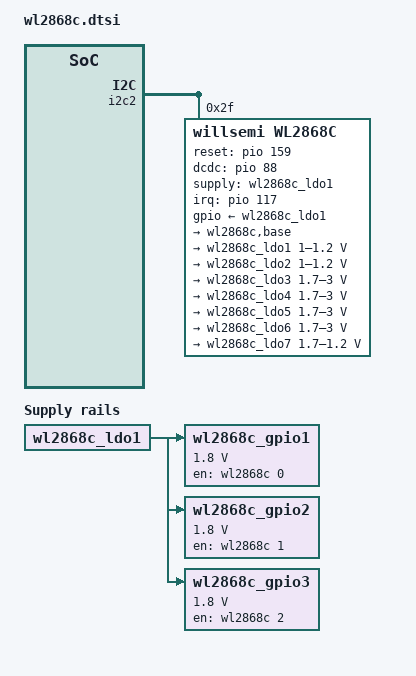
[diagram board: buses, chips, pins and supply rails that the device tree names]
// SPDX-License-Identifier: GPL-2.0
//
// Copyright (c) 2021 MediaTek Inc.

&odm {
	wl2868c_eint:wl2868c_eint {
	};

	wl2868c_gpio1: wl2868c-gpio1 {
		compatible = "regulator-fixed";
		regulator-name = "wl2868c-gpio1";
		regulator-min-microvolt = <1800000>;
		regulator-max-microvolt = <1800000>;
		vin-supply = <&wl2868c_ldo1>;
		enable-active-high;
		gpio = <&wl2868c 0 0x0>;
	};

	wl2868c_gpio2: wl2868c-gpio2 {
		compatible = "regulator-fixed";
		regulator-name = "wl2868c-gpio2";
		regulator-min-microvolt = <1800000>;
		regulator-max-microvolt = <1800000>;
		vin-supply = <&wl2868c_ldo1>;
		enable-active-high;
		gpio = <&wl2868c 1 0x0>;
	};

	wl2868c_gpio3: wl2868c-gpio3 {
		compatible = "regulator-fixed";
		regulator-name = "wl2868c-gpio3";
		regulator-min-microvolt = <1800000>;
		regulator-max-microvolt = <1800000>;
		vin-supply = <&wl2868c_ldo1>;
		enable-active-high;
		gpio = <&wl2868c 2 0x0>;
	};
};

&i2c2 {
	wl2868c: wl2868c@2F {
		status = "ok";
		compatible = "willsemi,wl2868c";
		reg = <0x2F>;
		wakeup-source;
		/* Temporarily choose unused gpios */
		interrupts-extended = <&pio 117 0x0>;
		reset-gpio = <&pio 159 0x0>;
		dcdc-gpio   = <&pio 88 0x0>;
		gpio-supply = <&wl2868c_ldo1>;
		gpio-controller;
		#gpio-cells = <2>;
		regulator_nb = "wl2868c-ldo1", "wl2868c-ldo2",
				"wl2868c-ldo3", "wl2868c-ldo4",
				"wl2868c-ldo5", "wl2868c-ldo6",
				"wl2868c-ldo7", "wl2868c-ldo8";
		regulators {
			BASE {
				regulator-name = "wl2868c,base";
				oc_shutdown_all = <0>;
				pgb_shutdown_all = <0>;
			};
			wl2868c_ldo1: LDO1 {
				regulator-name = "wl2868c-ldo1";
				regulator-min-microvolt = <1000000>;
				regulator-max-microvolt = <1200000>;
				regulator-active-discharge;
				oc_ptsel = <1>;
				pgb_ptsel = <1>;
				soft_start_time_sel = <1>;
			};
			wl2868c_ldo2: LDO2 {
				regulator-name = "wl2868c-ldo2";
				regulator-min-microvolt = <1000000>;
				regulator-max-microvolt = <1200000>;
				regulator-active-discharge;
				oc_ptsel = <1>;
				pgb_ptsel = <1>;
				soft_start_time_sel = <1>;
			};
			wl2868c_ldo3: LDO3 {
				regulator-name = "wl2868c-ldo3";
				regulator-min-microvolt = <1700000>;
				regulator-max-microvolt = <3000000>;
				regulator-active-discharge;
				oc_ptsel = <1>;
				pgb_ptsel = <1>;
				soft_start_time_sel = <1>;
			};
			wl2868c_ldo4: LDO4 {
				regulator-name = "wl2868c-ldo4";
				regulator-min-microvolt = <1700000>;
				regulator-max-microvolt = <3000000>;
				regulator-active-discharge;
				oc_ptsel = <1>;
				pgb_ptsel = <1>;
				soft_start_time_sel = <1>;
			};
			wl2868c_ldo5: LDO5 {
				regulator-name = "wl2868c-ldo5";
				regulator-min-microvolt = <1700000>;
				regulator-max-microvolt = <3000000>;
				regulator-active-discharge;
				oc_ptsel = <1>;
				pgb_ptsel = <1>;
				soft_start_time_sel = <1>;
			};
			wl2868c_ldo6: LDO6 {
				regulator-name = "wl2868c-ldo6";
				regulator-min-microvolt = <1700000>;
				regulator-max-microvolt = <3000000>;
				regulator-active-discharge;
				oc_ptsel = <1>;
				pgb_ptsel = <1>;
				soft_start_time_sel = <1>;
			};
			wl2868c_ldo7: LDO7 {
				regulator-name = "wl2868c-ldo7";
				regulator-min-microvolt = <1700000>;
				regulator-max-microvolt = <1200000>;
				regulator-active-discharge;
				oc_ptsel = <1>;
				pgb_ptsel = <1>;
				soft_start_time_sel = <1>;
			};
		};
	};
};
